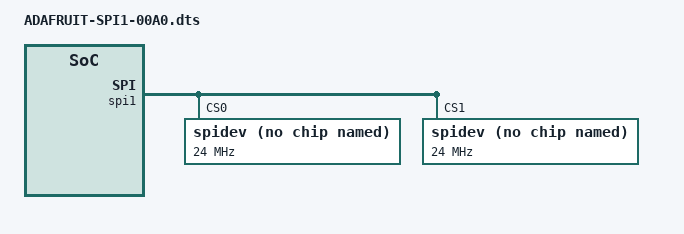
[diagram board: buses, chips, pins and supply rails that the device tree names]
/* DTS File modified from http://hipstercircuits.com/enable-spi-with-device-tree-on-beaglebone-black-copy-paste/ */
/dts-v1/;
/plugin/;

/ {
    compatible = "ti,beaglebone", "ti,beaglebone-black";

    /* identification */
    part-number = "ADAFRUIT-SPI1";

    /* version */
    version = "00A0";

    /* state the resources this cape uses */
    exclusive-use =
        /* the pin header uses */
        "P9.31",
        "P9.29",
        "P9.30",
        "P9.28",
        "P9.13",
        "P9.12", 
        "spi1";

    fragment@0 {
        target = <&am33xx_pinmux>;
        __overlay__ {
            pinctrl_spi1: pinctrl_spi1_pins {
                pinctrl-single,pins = <                                        
                    0x190 0x33    /* P9_31 = mcasp0_aclkx.spi1_sclk                 , INPUT_PULLUP | MODE3 */
                    0x194 0x33    /* P9_29 = mcasp0_fsx.spi1_d0                     , INPUT_PULLUP  | MODE3 */
                    0x198 0x13    /* P9_30 = mcasp0_axr0.spi1_d1                     , OUTPUT_PULLUP | MODE3 */
                    0x19c 0x13    /* P9_28 = mcasp0_ahclkr.spi1_cs0                 , OUTPUT_PULLUP | MODE3 */                    
                >;
            };
        };
    };

    fragment@1 {
        target = <&spi1>;
        __overlay__ {
            #address-cells     = <1>;
            #size-cells     = <0>;
            status            = "okay";
            pinctrl-names    = "default";
            pinctrl-0        = <&pinctrl_spi1>;    

            spidev@0{
                compatible           = "spidev";
                reg               = <0>;
                spi-max-frequency = <24000000>;
            };
            spidev@1{
                compatible           = "spidev";
                reg               = <1>;
                spi-max-frequency = <24000000>;
            };            
        };
    };
};
